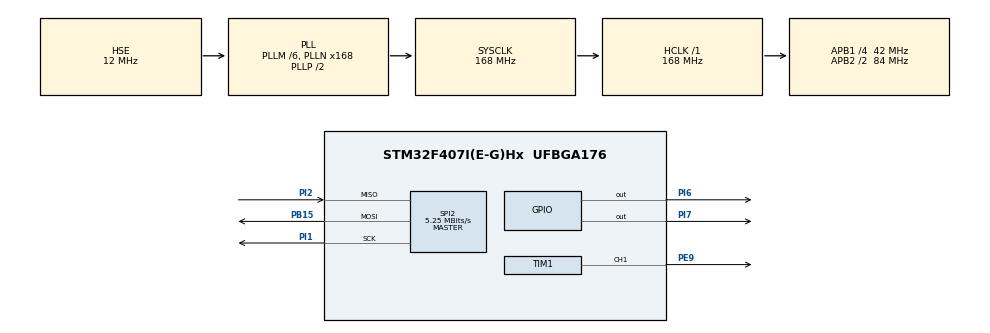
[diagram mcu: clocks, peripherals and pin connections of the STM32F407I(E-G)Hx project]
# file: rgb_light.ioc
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Dma.Request0=TIM1_CH1
Dma.Request1=SPI2_TX
Dma.SPI2_TX.1.Direction=DMA_MEMORY_TO_PERIPH
Dma.SPI2_TX.1.FIFOMode=DMA_FIFOMODE_DISABLE
Dma.SPI2_TX.1.Instance=DMA1_Stream4
Dma.SPI2_TX.1.MemDataAlignment=DMA_MDATAALIGN_BYTE
Dma.SPI2_TX.1.MemInc=DMA_MINC_ENABLE
Dma.SPI2_TX.1.Mode=DMA_CIRCULAR
Dma.SPI2_TX.1.PeriphDataAlignment=DMA_PDATAALIGN_BYTE
Dma.SPI2_TX.1.PeriphInc=DMA_PINC_DISABLE
Dma.SPI2_TX.1.Priority=DMA_PRIORITY_LOW
Dma.TIM1_CH1.0.Direction=DMA_MEMORY_TO_PERIPH
Dma.TIM1_CH1.0.FIFOMode=DMA_FIFOMODE_DISABLE
Dma.TIM1_CH1.0.Instance=DMA2_Stream1
Dma.TIM1_CH1.0.MemDataAlignment=DMA_MDATAALIGN_HALFWORD
Dma.TIM1_CH1.0.MemInc=DMA_MINC_ENABLE
Dma.TIM1_CH1.0.Mode=DMA_CIRCULAR
Dma.TIM1_CH1.0.PeriphDataAlignment=DMA_PDATAALIGN_HALFWORD
Dma.TIM1_CH1.0.PeriphInc=DMA_PINC_DISABLE
Dma.TIM1_CH1.0.Priority=DMA_PRIORITY_LOW
Mcu.Family=STM32F4
Mcu.Name=STM32F407I(E-G)Hx
Mcu.Package=UFBGA176
NVIC.DMA1_Stream4_IRQn=true\:0\:0\:false\:false\:true\:false\:true\:true
NVIC.DMA2_Stream1_IRQn=true\:0\:0\:false\:false\:true\:false\:true\:true
NVIC.PriorityGroup=NVIC_PRIORITYGROUP_4
PA13.Mode=Serial_Wire
PA13.Signal=SYS_JTMS-SWDIO
PA14.Mode=Serial_Wire
PA14.Signal=SYS_JTCK-SWCLK
PB15.Mode=Full_Duplex_Master
PB15.Signal=SPI2_MOSI
PE9.GPIO_PuPd=GPIO_PULLDOWN
PE9.GPIO_Speed=GPIO_SPEED_FREQ_MEDIUM
PE9.Signal=S_TIM1_CH1
PH0-OSC_IN.Mode=HSE-External-Oscillator
PH0-OSC_IN.Signal=RCC_OSC_IN
PH1-OSC_OUT.Mode=HSE-External-Oscillator
PH1-OSC_OUT.Signal=RCC_OSC_OUT
PH10.GPIO_PuPd=GPIO_PULLUP
PH10.GPIO_Speed=GPIO_SPEED_FREQ_HIGH
PH10.Signal=S_TIM5_CH1
PH11.GPIO_PuPd=GPIO_PULLUP
PH11.GPIO_Speed=GPIO_SPEED_FREQ_HIGH
PH11.Signal=S_TIM5_CH2
PH12.GPIO_PuPd=GPIO_PULLUP
PH12.GPIO_Speed=GPIO_SPEED_FREQ_HIGH
PH12.Signal=S_TIM5_CH3
PI1.Mode=Full_Duplex_Master
PI1.Signal=SPI2_SCK
PI2.Mode=Full_Duplex_Master
PI2.Signal=SPI2_MISO
PI6.Signal=GPIO_Output
PI7.Signal=GPIO_Output
ProjectManager.HeapSize=0x200
ProjectManager.StackSize=0x400
ProjectManager.TargetToolchain=MDK-ARM V5
RCC.48MHZClocksFreq_Value=84000000
RCC.AHBFreq_Value=168000000
RCC.APB1CLKDivider=RCC_HCLK_DIV4
RCC.APB1Freq_Value=42000000
RCC.APB1TimFreq_Value=84000000
RCC.APB2CLKDivider=RCC_HCLK_DIV2
RCC.APB2Freq_Value=84000000
RCC.APB2TimFreq_Value=168000000
RCC.CortexFreq_Value=168000000
RCC.HCLKFreq_Value=168000000
RCC.HSE_VALUE=12000000
RCC.HSI_VALUE=16000000
RCC.LSE_VALUE=32768
RCC.PLLM=6
RCC.PLLN=168
RCC.PLLSourceVirtual=RCC_PLLSOURCE_HSE
RCC.SYSCLKFreq_VALUE=168000000
RCC.SYSCLKSource=RCC_SYSCLKSOURCE_PLLCLK
RCC.VCOOutputFreq_Value=336000000
SH.S_TIM1_CH1.0=TIM1_CH1,PWM Generation1 CH1
SH.S_TIM5_CH1.0=TIM5_CH1
SH.S_TIM5_CH2.0=TIM5_CH2
SH.S_TIM5_CH3.0=TIM5_CH3
SPI2.BaudRatePrescaler=SPI_BAUDRATEPRESCALER_8
SPI2.CLKPhase=SPI_PHASE_2EDGE
SPI2.CLKPolarity=SPI_POLARITY_HIGH
SPI2.CalculateBaudRate=5.25 MBits/s
SPI2.Direction=SPI_DIRECTION_2LINES
SPI2.Mode=SPI_MODE_MASTER
SPI2.VirtualType=VM_MASTER
TIM1.BreakPolarity=TIM_BREAKPOLARITY_LOW
TIM1.Channel-PWM\ Generation1\ CH1=TIM_CHANNEL_1
TIM1.OC1Preload_PWM=ENABLE
TIM1.OCFastMode_PWM-PWM\ Generation1\ CH1=TIM_OCFAST_DISABLE
TIM1.OCPolarity_1=TIM_OCPOLARITY_HIGH
TIM1.Period=210-1
TIM1.Pulse-PWM\ Generation1\ CH1=0
VP_TIM1_VS_ClockSourceINT.Mode=Internal
board=custom

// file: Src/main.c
/* USER CODE BEGIN Header */
/**
 ******************************************************************************
 * @file           : main.c
 * @brief          : Main program body
 ******************************************************************************
 * @attention
 *
 * <h2><center>&copy; Copyright (c) 2019 STMicroelectronics.
 * All rights reserved.</center></h2>
 *
 * This software component is licensed by ST under BSD 3-Clause license,
 * the "License"; You may not use this file except in compliance with the
 * License. You may obtain a copy of the License at:
 *                        opensource.org/licenses/BSD-3-Clause
 *
 ******************************************************************************
 */
/* USER CODE END Header */
#include "main.h"
#include "dma.h"
#include "spi.h"
#include "tim.h"
#include "gpio.h"

/* USER CODE BEGIN Includes */
// #include "bsp_led.h"
#include "led_ws28xx.h"

/* USER CODE END Includes */

void SystemClock_Config(void);

/* USER CODE BEGIN 0 */

uint8_t britness = 0;
uint8_t blink_case = 0;
uint8_t color_case = 0;

/* USER CODE END 0 */

int main(void)
{

  /* MCU Configuration--------------------------------------------------------*/

  /* Reset of all peripherals, Initializes the Flash interface and the Systick. */
  HAL_Init();

  /* Configure the system clock */
  SystemClock_Config();

  /* Initialize all configured peripherals */
  MX_GPIO_Init();
  MX_DMA_Init();
  MX_TIM1_Init();
  MX_SPI2_Init();
  /* USER CODE BEGIN 2 */

  ws28xx_init();

  /* USER CODE END 2 */

  /* Infinite loop */
  while (1)
  {

    /* USER CODE BEGIN 3 */

    if(blink_case == 0)
    {
      britness++;
      if(britness>=255)
      {
        blink_case = 1;

      }
    }
    else
    {
      britness--;
      if(britness<=0)
      {
        blink_case = 0;
                color_case++;
        if(color_case>=3)
        {
          color_case = 0;
        }
      }
    }

    if(color_case == 0)
    {
    ws28xx_set_node_all(0, 0, britness);
    }
    else if(color_case == 1)
    {
    ws28xx_set_node_all(0, britness, 0);
    }
    else
    {
    ws28xx_set_node_all(britness, 0, 0);
    }

    ws28xx_send();

    HAL_Delay(10);
    // aRGB_led_show(0x7F123456);
  }
  /* USER CODE END 3 */
}

void SystemClock_Config(void)
{
  RCC_OscInitTypeDef RCC_OscInitStruct = {0};
  RCC_ClkInitTypeDef RCC_ClkInitStruct = {0};

  /** Configure the main internal regulator output voltage
  */
  __HAL_RCC_PWR_CLK_ENABLE();
  __HAL_PWR_VOLTAGESCALING_CONFIG(PWR_REGULATOR_VOLTAGE_SCALE1);

  /** Initializes the RCC Oscillators according to the specified parameters
  * in the RCC_OscInitTypeDef structure.
  */
  RCC_OscInitStruct.OscillatorType = RCC_OSCILLATORTYPE_HSE;
  RCC_OscInitStruct.HSEState = RCC_HSE_ON;
  RCC_OscInitStruct.PLL.PLLState = RCC_PLL_ON;
  RCC_OscInitStruct.PLL.PLLSource = RCC_PLLSOURCE_HSE;
  RCC_OscInitStruct.PLL.PLLM = 6;
  RCC_OscInitStruct.PLL.PLLN = 168;
  RCC_OscInitStruct.PLL.PLLP = RCC_PLLP_DIV2;
  RCC_OscInitStruct.PLL.PLLQ = 4;
  if (HAL_RCC_OscConfig(&RCC_OscInitStruct) != HAL_OK)
  {
    Error_Handler();
  }

  /** Initializes the CPU, AHB and APB buses clocks
  */
  RCC_ClkInitStruct.ClockType = RCC_CLOCKTYPE_HCLK|RCC_CLOCKTYPE_SYSCLK
                              |RCC_CLOCKTYPE_PCLK1|RCC_CLOCKTYPE_PCLK2;
  RCC_ClkInitStruct.SYSCLKSource = RCC_SYSCLKSOURCE_PLLCLK;
  RCC_ClkInitStruct.AHBCLKDivider = RCC_SYSCLK_DIV1;
  RCC_ClkInitStruct.APB1CLKDivider = RCC_HCLK_DIV4;
  RCC_ClkInitStruct.APB2CLKDivider = RCC_HCLK_DIV2;

  if (HAL_RCC_ClockConfig(&RCC_ClkInitStruct, FLASH_LATENCY_5) != HAL_OK)
  {
    Error_Handler();
  }
}

void Error_Handler(void)
{
}
